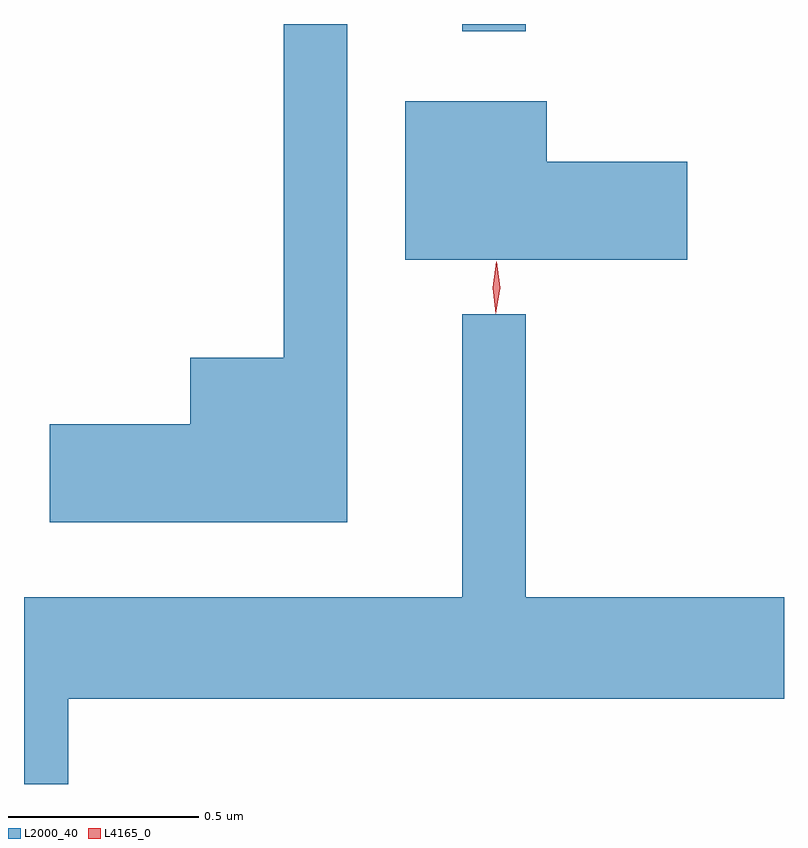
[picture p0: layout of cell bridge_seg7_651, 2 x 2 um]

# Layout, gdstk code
import gdstk
lib = gdstk.Library(unit=1e-6, precision=1e-09)
def R(c, l, rs):  # rectangles x0, y0, x1, y1
    for r in rs: c.add(gdstk.rectangle(r[:2], r[2:], *l))
def P(c, l, *ps):  # polygons
    for p in ps: c.add(gdstk.Polygon(p, *l))
L2000_40 = (2000, 40)
L4165_0 = (4165, 0)

bridge_seg7_651 = lib.new_cell('bridge_seg7_651')
R(bridge_seg7_651, L2000_40, [(813.561,1707.193,813.729,1707.212)])
P(bridge_seg7_651, L2000_40, [(813.259,1707.212),(813.091,1707.212),(813.091,1706.334),(812.846,1706.334),(812.846,1706.159),(812.476,1706.159),(812.476,1705.901),(813.259,1705.901)],
  [(814.154,1706.849),(813.784,1706.849),(813.784,1707.009),(813.411,1707.009),(813.411,1706.591),(814.154,1706.591)],
  [(812.524,1705.436),(814.408,1705.436),(814.408,1705.704),(813.729,1705.704),(813.729,1706.448),(813.561,1706.448),(813.561,1705.704),(812.408,1705.704),(812.408,1705.212),(812.524,1705.212)])
P(bridge_seg7_651, L4165_0, [(813.649,1706.45),(813.641,1706.518),(813.651,1706.586),(813.652,1706.586),(813.652,1706.586),(813.661,1706.518),(813.65,1706.45),(813.65,1706.45)],
  [(813.649,1706.453),(813.641,1706.516),(813.651,1706.579),(813.652,1706.58),(813.652,1706.579),(813.661,1706.516),(813.65,1706.453),(813.65,1706.453)])

lib.write_gds('bridge_seg7_651.gds')
